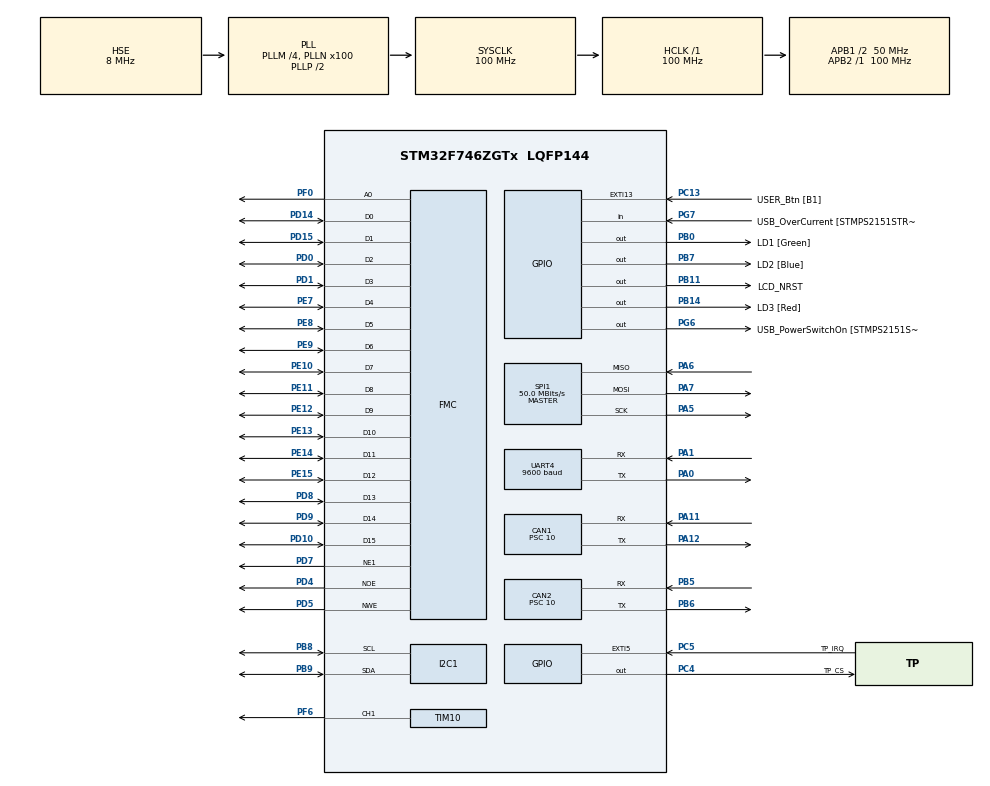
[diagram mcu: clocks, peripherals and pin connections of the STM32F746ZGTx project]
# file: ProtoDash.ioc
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CAN1.BS1=CAN_BS1_8TQ
CAN1.CalculateBaudRate=500000
CAN1.CalculateTimeBit=2000
CAN1.CalculateTimeQuantum=200.0
CAN1.Prescaler=10
CAN2.BS1=CAN_BS1_8TQ
CAN2.CalculateBaudRate=500000
CAN2.CalculateTimeBit=2000
CAN2.CalculateTimeQuantum=200.0
CAN2.Prescaler=10
FMC.AddressSetupTime1=3
FMC.BusTurnAroundDuration1=2
FMC.DataSetupTime1=2
I2C1.Timing=0x00C0EAFF
Mcu.Family=STM32F7
Mcu.Name=STM32F746ZGTx
Mcu.Package=LQFP144
NVIC.PriorityGroup=NVIC_PRIORITYGROUP_4
PA0/WKUP.Mode=Asynchronous
PA0/WKUP.Signal=UART4_TX
PA1.Mode=Asynchronous
PA1.Signal=UART4_RX
PA11.Mode=CAN_Activate
PA11.Signal=CAN1_RX
PA12.Mode=CAN_Activate
PA12.Signal=CAN1_TX
PA13.GPIO_Label=TMS
PA13.Mode=Serial_Wire
PA13.Signal=SYS_JTMS-SWDIO
PA14.GPIO_Label=TCK
PA14.Mode=Serial_Wire
PA14.Signal=SYS_JTCK-SWCLK
PA5.Mode=Full_Duplex_Master
PA5.Signal=SPI1_SCK
PA6.Mode=Full_Duplex_Master
PA6.Signal=SPI1_MISO
PA7.Mode=Full_Duplex_Master
PA7.Signal=SPI1_MOSI
PB0.GPIO_Label=LD1 [Green]
PB0.Signal=GPIO_Output
PB11.GPIO_Label=LCD_NRST
PB11.Signal=GPIO_Output
PB14.GPIO_Label=LD3 [Red]
PB14.Signal=GPIO_Output
PB3.Signal=SYS_JTDO-SWO
PB5.Mode=CAN_Activate
PB5.Signal=CAN2_RX
PB6.Mode=CAN_Activate
PB6.Signal=CAN2_TX
PB7.GPIO_Label=LD2 [Blue]
PB7.Signal=GPIO_Output
PB8.Mode=I2C
PB8.Signal=I2C1_SCL
PB9.Mode=I2C
PB9.Signal=I2C1_SDA
PC13.GPIO_Label=USER_Btn [B1]
PC13.Signal=GPXTI13
PC14/OSC32_IN.Mode=LSE-External-Oscillator
PC14/OSC32_IN.Signal=RCC_OSC32_IN
PC15/OSC32_OUT.Mode=LSE-External-Oscillator
PC15/OSC32_OUT.Signal=RCC_OSC32_OUT
PC4.GPIO_Label=TP_CS
PC4.Signal=GPIO_Output
PC5.GPIO_Label=TP_IRQ
PC5.Signal=GPXTI5
PD0.Signal=FMC_D2_DA2
PD1.Signal=FMC_D3_DA3
PD10.Signal=FMC_D15_DA15
PD14.Signal=FMC_D0_DA0
PD15.Signal=FMC_D1_DA1
PD4.Signal=FMC_NOE
PD5.Signal=FMC_NWE
PD7.Mode=NorPsramChipSelect1_1
PD7.Signal=FMC_NE1
PD8.Signal=FMC_D13_DA13
PD9.Signal=FMC_D14_DA14
PE10.Signal=FMC_D7_DA7
PE11.Signal=FMC_D8_DA8
PE12.Signal=FMC_D9_DA9
PE13.Signal=FMC_D10_DA10
PE14.Signal=FMC_D11_DA11
PE15.Signal=FMC_D12_DA12
PE7.Signal=FMC_D4_DA4
PE8.Signal=FMC_D5_DA5
PE9.Signal=FMC_D6_DA6
PF0.Signal=FMC_A0
PF6.Signal=S_TIM10_CH1
PG6.GPIO_Label=USB_PowerSwitchOn [STMPS2151STR_EN]
PG6.Signal=GPIO_Output
PG7.GPIO_Label=USB_OverCurrent [STMPS2151STR_FAULT]
PG7.Signal=GPIO_Input
PH0/OSC_IN.GPIO_Label=MCO [STM32F103CBT6_PA8]
PH0/OSC_IN.Mode=HSE-External-Clock-Source
PH0/OSC_IN.Signal=RCC_OSC_IN
PH1/OSC_OUT.Mode=HSE-External-Clock-Source
PH1/OSC_OUT.Signal=RCC_OSC_OUT
ProjectManager.HeapSize=0x200
ProjectManager.StackSize=0x400
ProjectManager.TargetToolchain=STM32CubeIDE
RCC.48MHZClocksFreq_Value=24000000
RCC.AHBFreq_Value=100000000
RCC.APB1CLKDivider=RCC_HCLK_DIV2
RCC.APB1Freq_Value=50000000
RCC.APB1TimFreq_Value=100000000
RCC.APB2Freq_Value=100000000
RCC.APB2TimFreq_Value=100000000
RCC.CortexFreq_Value=100000000
RCC.HCLKFreq_Value=100000000
RCC.HSE_VALUE=8000000
RCC.HSI_VALUE=16000000
RCC.PLL48CLockSelection=RCC_CLK48SOURCE_PLLSAIP
RCC.PLLM=4
RCC.PLLMUL=RCC_PLL_MUL9
RCC.PLLN=100
RCC.PLLSAIP=RCC_PLLSAIP_DIV8
RCC.PLLSourceVirtual=RCC_PLLSOURCE_HSE
RCC.PRESCALERUSB=RCC_USBCLKSOURCE_PLL_DIV1_5
RCC.SYSCLKFreq_VALUE=100000000
RCC.SYSCLKSource=RCC_SYSCLKSOURCE_PLLCLK
RCC.SYSCLKSourceVirtual=RCC_SYSCLKSOURCE_PLLCLK
RCC.USBFreq_Value=48000000
RCC.VCOOutputFreq_Value=200000000
SH.FMC_A0.0=FMC_A0,A0_1
SH.FMC_D0_DA0.0=FMC_D0,16b-d1
SH.FMC_D10_DA10.0=FMC_D10,16b-d1
SH.FMC_D11_DA11.0=FMC_D11,16b-d1
SH.FMC_D12_DA12.0=FMC_D12,16b-d1
SH.FMC_D13_DA13.0=FMC_D13,16b-d1
SH.FMC_D14_DA14.0=FMC_D14,16b-d1
SH.FMC_D15_DA15.0=FMC_D15,16b-d1
SH.FMC_D1_DA1.0=FMC_D1,16b-d1
SH.FMC_D2_DA2.0=FMC_D2,16b-d1
SH.FMC_D3_DA3.0=FMC_D3,16b-d1
SH.FMC_D4_DA4.0=FMC_D4,16b-d1
SH.FMC_D5_DA5.0=FMC_D5,16b-d1
SH.FMC_D6_DA6.0=FMC_D6,16b-d1
SH.FMC_D7_DA7.0=FMC_D7,16b-d1
SH.FMC_D8_DA8.0=FMC_D8,16b-d1
SH.FMC_D9_DA9.0=FMC_D9,16b-d1
SH.FMC_NOE.0=FMC_NOE,Lcd1
SH.FMC_NWE.0=FMC_NWE,Lcd1
SH.S_TIM10_CH1.0=TIM10_CH1,PWM Generation1 CH1
SPI1.CalculateBaudRate=50.0 MBits/s
SPI1.Direction=SPI_DIRECTION_2LINES
SPI1.Mode=SPI_MODE_MASTER
SPI1.VirtualType=VM_MASTER
TIM10.Channel=TIM_CHANNEL_1
TIM10.Period=100-1
TIM10.Prescaler=120-1
UART4.BaudRate=9600
UART4.Mode=MODE_TX
VP_TIM10_VS_ClockSourceINT.Mode=Enable_Timer
board=NUCLEO-F746ZG

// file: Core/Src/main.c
/* USER CODE BEGIN Header */
/**
  ******************************************************************************
  * @file           : main.c
  * @brief          : Main program body
  ******************************************************************************
  * @attention
  *
  * Copyright (c) 2025 STMicroelectronics.
  * All rights reserved.
  *
  * This software is licensed under terms that can be found in the LICENSE file
  * in the root directory of this software component.
  * If no LICENSE file comes with this software, it is provided AS-IS.
  *
  ******************************************************************************
  */
/* USER CODE END Header */
#include "main.h"

/* USER CODE BEGIN Includes */
#include "ili9341.h"

#include "lvgl.h"
#include "ui.h"
/* USER CODE END Includes */

/* USER CODE BEGIN PD */
#define HORIZONTAL_RES 320 //px
#define VERTICAL_RES 240 //px

#define BYTES_PER_PIXEL (LV_COLOR_FORMAT_GET_SIZE(LV_COLOR_FORMAT_RGB565))
/* USER CODE END PD */

CAN_HandleTypeDef hcan1;
CAN_HandleTypeDef hcan2;

I2C_HandleTypeDef hi2c1;

SPI_HandleTypeDef hspi1;

TIM_HandleTypeDef htim10;

UART_HandleTypeDef huart4;

SRAM_HandleTypeDef hsram1;

/* USER CODE BEGIN PV */
static uint8_t buf1[HORIZONTAL_RES * VERTICAL_RES / 10 * BYTES_PER_PIXEL];
/* USER CODE END PV */

void SystemClock_Config(void);
static void MX_GPIO_Init(void);
static void MX_I2C1_Init(void);
static void MX_FMC_Init(void);
static void MX_TIM10_Init(void);
static void MX_UART4_Init(void);
static void MX_CAN2_Init(void);
static void MX_SPI1_Init(void);
static void MX_CAN1_Init(void);

/* USER CODE BEGIN 0 */

void display_flush_cb(lv_display_t * display, const lv_area_t * area, uint8_t * px_map)
{
    /* The most simple case (also the slowest) to send all rendered pixels to the
     * screen one-by-one. */
	lcdSetWindow(area->x1, area->y1, area->x2, area->y2);

    uint16_t * buf16 = (uint16_t *)px_map; /* Let's say it's a 16 bit (RGB565) display */
    int32_t x, y;
    for(y = area->y1; y <= area->y2; y++) {
        for(x = area->x1; x <= area->x2; x++) {
            LCD_DataWrite(*buf16);
            buf16++;
        }
    }

    /* IMPORTANT!!!
     * Inform LVGL that flushing is complete so buffer can be modified again. */
    lv_display_flush_ready(display);
}

/* USER CODE END 0 */

int main(void)
{

  /* MCU Configuration--------------------------------------------------------*/

  /* Reset of all peripherals, Initializes the Flash interface and the Systick. */
  HAL_Init();

  /* Configure the system clock */
  SystemClock_Config();

  /* Initialize all configured peripherals */
  MX_GPIO_Init();
  MX_I2C1_Init();
  MX_FMC_Init();
  MX_TIM10_Init();
  MX_UART4_Init();
  MX_CAN2_Init();
  MX_SPI1_Init();
  MX_CAN1_Init();
  /* USER CODE BEGIN 2 */

  HAL_EnableFMCMemorySwapping();

  //Reset LCD
  HAL_GPIO_WritePin(LCD_NRST_GPIO_Port, LCD_NRST_Pin, GPIO_PIN_RESET);
  HAL_Delay(50);
  HAL_GPIO_WritePin(LCD_NRST_GPIO_Port, LCD_NRST_Pin, GPIO_PIN_SET);
  HAL_Delay(50);

  //Initialise backlight PWM
  HAL_TIM_PWM_Start(&htim10, TIM_CHANNEL_1);
  htim10.Instance->CCR1 = 100; // 100% brightness

  lcdInit();
  lcdSetOrientation(LCD_ORIENTATION_LANDSCAPE_MIRROR);
  lcdTest();

  lv_init();
  lv_tick_set_cb(HAL_GetTick);

  lv_display_t * display1 = lv_display_create(HORIZONTAL_RES, VERTICAL_RES);

  lv_display_set_buffers(display1, buf1, NULL, sizeof(buf1), LV_DISPLAY_RENDER_MODE_PARTIAL);

  lv_display_set_flush_cb(display1, display_flush_cb);

  ui_init();
  /* USER CODE END 2 */

  /* Infinite loop */
  while (1)
  {

    /* USER CODE BEGIN 3 */
	  lv_timer_handler_run_in_period(5);

  }
  /* USER CODE END 3 */
}

void SystemClock_Config(void)
{
  RCC_OscInitTypeDef RCC_OscInitStruct = {0};
  RCC_ClkInitTypeDef RCC_ClkInitStruct = {0};

  /** Configure LSE Drive Capability
  */
  HAL_PWR_EnableBkUpAccess();

  /** Configure the main internal regulator output voltage
  */
  __HAL_RCC_PWR_CLK_ENABLE();
  __HAL_PWR_VOLTAGESCALING_CONFIG(PWR_REGULATOR_VOLTAGE_SCALE3);

  /** Initializes the RCC Oscillators according to the specified parameters
  * in the RCC_OscInitTypeDef structure.
  */
  RCC_OscInitStruct.OscillatorType = RCC_OSCILLATORTYPE_HSE;
  RCC_OscInitStruct.HSEState = RCC_HSE_BYPASS;
  RCC_OscInitStruct.PLL.PLLState = RCC_PLL_ON;
  RCC_OscInitStruct.PLL.PLLSource = RCC_PLLSOURCE_HSE;
  RCC_OscInitStruct.PLL.PLLM = 4;
  RCC_OscInitStruct.PLL.PLLN = 100;
  RCC_OscInitStruct.PLL.PLLP = RCC_PLLP_DIV2;
  RCC_OscInitStruct.PLL.PLLQ = 2;
  if (HAL_RCC_OscConfig(&RCC_OscInitStruct) != HAL_OK)
  {
    Error_Handler();
  }

  /** Activate the Over-Drive mode
  */
  if (HAL_PWREx_EnableOverDrive() != HAL_OK)
  {
    Error_Handler();
  }

  /** Initializes the CPU, AHB and APB buses clocks
  */
  RCC_ClkInitStruct.ClockType = RCC_CLOCKTYPE_HCLK|RCC_CLOCKTYPE_SYSCLK
                              |RCC_CLOCKTYPE_PCLK1|RCC_CLOCKTYPE_PCLK2;
  RCC_ClkInitStruct.SYSCLKSource = RCC_SYSCLKSOURCE_PLLCLK;
  RCC_ClkInitStruct.AHBCLKDivider = RCC_SYSCLK_DIV1;
  RCC_ClkInitStruct.APB1CLKDivider = RCC_HCLK_DIV2;
  RCC_ClkInitStruct.APB2CLKDivider = RCC_HCLK_DIV1;

  if (HAL_RCC_ClockConfig(&RCC_ClkInitStruct, FLASH_LATENCY_3) != HAL_OK)
  {
    Error_Handler();
  }
}

static void MX_CAN1_Init(void)
{

  hcan1.Instance = CAN1;
  hcan1.Init.Prescaler = 10;
  hcan1.Init.Mode = CAN_MODE_NORMAL;
  hcan1.Init.SyncJumpWidth = CAN_SJW_1TQ;
  hcan1.Init.TimeSeg1 = CAN_BS1_8TQ;
  hcan1.Init.TimeSeg2 = CAN_BS2_1TQ;
  hcan1.Init.TimeTriggeredMode = DISABLE;
  hcan1.Init.AutoBusOff = DISABLE;
  hcan1.Init.AutoWakeUp = DISABLE;
  hcan1.Init.AutoRetransmission = DISABLE;
  hcan1.Init.ReceiveFifoLocked = DISABLE;
  hcan1.Init.TransmitFifoPriority = DISABLE;
  if (HAL_CAN_Init(&hcan1) != HAL_OK)
  {
    Error_Handler();
  }

}

static void MX_CAN2_Init(void)
{

  hcan2.Instance = CAN2;
  hcan2.Init.Prescaler = 10;
  hcan2.Init.Mode = CAN_MODE_NORMAL;
  hcan2.Init.SyncJumpWidth = CAN_SJW_1TQ;
  hcan2.Init.TimeSeg1 = CAN_BS1_8TQ;
  hcan2.Init.TimeSeg2 = CAN_BS2_1TQ;
  hcan2.Init.TimeTriggeredMode = DISABLE;
  hcan2.Init.AutoBusOff = DISABLE;
  hcan2.Init.AutoWakeUp = DISABLE;
  hcan2.Init.AutoRetransmission = DISABLE;
  hcan2.Init.ReceiveFifoLocked = DISABLE;
  hcan2.Init.TransmitFifoPriority = DISABLE;
  if (HAL_CAN_Init(&hcan2) != HAL_OK)
  {
    Error_Handler();
  }

}

static void MX_I2C1_Init(void)
{

  hi2c1.Instance = I2C1;
  hi2c1.Init.Timing = 0x00C0EAFF;
  hi2c1.Init.OwnAddress1 = 0;
  hi2c1.Init.AddressingMode = I2C_ADDRESSINGMODE_7BIT;
  hi2c1.Init.DualAddressMode = I2C_DUALADDRESS_DISABLE;
  hi2c1.Init.OwnAddress2 = 0;
  hi2c1.Init.OwnAddress2Masks = I2C_OA2_NOMASK;
  hi2c1.Init.GeneralCallMode = I2C_GENERALCALL_DISABLE;
  hi2c1.Init.NoStretchMode = I2C_NOSTRETCH_DISABLE;
  if (HAL_I2C_Init(&hi2c1) != HAL_OK)
  {
    Error_Handler();
  }

  /** Configure Analogue filter
  */
  if (HAL_I2CEx_ConfigAnalogFilter(&hi2c1, I2C_ANALOGFILTER_ENABLE) != HAL_OK)
  {
    Error_Handler();
  }

  /** Configure Digital filter
  */
  if (HAL_I2CEx_ConfigDigitalFilter(&hi2c1, 0) != HAL_OK)
  {
    Error_Handler();
  }

}

static void MX_SPI1_Init(void)
{

  /* SPI1 parameter configuration*/
  hspi1.Instance = SPI1;
  hspi1.Init.Mode = SPI_MODE_MASTER;
  hspi1.Init.Direction = SPI_DIRECTION_2LINES;
  hspi1.Init.DataSize = SPI_DATASIZE_4BIT;
  hspi1.Init.CLKPolarity = SPI_POLARITY_LOW;
  hspi1.Init.CLKPhase = SPI_PHASE_1EDGE;
  hspi1.Init.NSS = SPI_NSS_SOFT;
  hspi1.Init.BaudRatePrescaler = SPI_BAUDRATEPRESCALER_2;
  hspi1.Init.FirstBit = SPI_FIRSTBIT_MSB;
  hspi1.Init.TIMode = SPI_TIMODE_DISABLE;
  hspi1.Init.CRCCalculation = SPI_CRCCALCULATION_DISABLE;
  hspi1.Init.CRCPolynomial = 7;
  hspi1.Init.CRCLength = SPI_CRC_LENGTH_DATASIZE;
  hspi1.Init.NSSPMode = SPI_NSS_PULSE_ENABLE;
  if (HAL_SPI_Init(&hspi1) != HAL_OK)
  {
    Error_Handler();
  }

}

static void MX_TIM10_Init(void)
{

  TIM_OC_InitTypeDef sConfigOC = {0};

  htim10.Instance = TIM10;
  htim10.Init.Prescaler = 120-1;
  htim10.Init.CounterMode = TIM_COUNTERMODE_UP;
  htim10.Init.Period = 100-1;
  htim10.Init.ClockDivision = TIM_CLOCKDIVISION_DIV1;
  htim10.Init.AutoReloadPreload = TIM_AUTORELOAD_PRELOAD_DISABLE;
  if (HAL_TIM_Base_Init(&htim10) != HAL_OK)
  {
    Error_Handler();
  }
  if (HAL_TIM_PWM_Init(&htim10) != HAL_OK)
  {
    Error_Handler();
  }
  sConfigOC.OCMode = TIM_OCMODE_PWM1;
  sConfigOC.Pulse = 0;
  sConfigOC.OCPolarity = TIM_OCPOLARITY_HIGH;
  sConfigOC.OCFastMode = TIM_OCFAST_DISABLE;
  if (HAL_TIM_PWM_ConfigChannel(&htim10, &sConfigOC, TIM_CHANNEL_1) != HAL_OK)
  {
    Error_Handler();
  }
  HAL_TIM_MspPostInit(&htim10);

}

static void MX_UART4_Init(void)
{

  huart4.Instance = UART4;
  huart4.Init.BaudRate = 9600;
  huart4.Init.WordLength = UART_WORDLENGTH_8B;
  huart4.Init.StopBits = UART_STOPBITS_1;
  huart4.Init.Parity = UART_PARITY_NONE;
  huart4.Init.Mode = UART_MODE_TX;
  huart4.Init.HwFlowCtl = UART_HWCONTROL_NONE;
  huart4.Init.OverSampling = UART_OVERSAMPLING_16;
  huart4.Init.OneBitSampling = UART_ONE_BIT_SAMPLE_DISABLE;
  huart4.AdvancedInit.AdvFeatureInit = UART_ADVFEATURE_NO_INIT;
  if (HAL_UART_Init(&huart4) != HAL_OK)
  {
    Error_Handler();
  }

}

/* FMC initialization function */
static void MX_FMC_Init(void)
{

  FMC_NORSRAM_TimingTypeDef Timing = {0};

  /** Perform the SRAM1 memory initialization sequence
  */
  hsram1.Instance = FMC_NORSRAM_DEVICE;
  hsram1.Extended = FMC_NORSRAM_EXTENDED_DEVICE;
  /* hsram1.Init */
  hsram1.Init.NSBank = FMC_NORSRAM_BANK1;
  hsram1.Init.DataAddressMux = FMC_DATA_ADDRESS_MUX_DISABLE;
  hsram1.Init.MemoryType = FMC_MEMORY_TYPE_SRAM;
  hsram1.Init.MemoryDataWidth = FMC_NORSRAM_MEM_BUS_WIDTH_16;
  hsram1.Init.BurstAccessMode = FMC_BURST_ACCESS_MODE_DISABLE;
  hsram1.Init.WaitSignalPolarity = FMC_WAIT_SIGNAL_POLARITY_LOW;
  hsram1.Init.WaitSignalActive = FMC_WAIT_TIMING_BEFORE_WS;
  hsram1.Init.WriteOperation = FMC_WRITE_OPERATION_ENABLE;
  hsram1.Init.WaitSignal = FMC_WAIT_SIGNAL_DISABLE;
  hsram1.Init.ExtendedMode = FMC_EXTENDED_MODE_DISABLE;
  hsram1.Init.AsynchronousWait = FMC_ASYNCHRONOUS_WAIT_DISABLE;
  hsram1.Init.WriteBurst = FMC_WRITE_BURST_DISABLE;
  hsram1.Init.ContinuousClock = FMC_CONTINUOUS_CLOCK_SYNC_ONLY;
  hsram1.Init.WriteFifo = FMC_WRITE_FIFO_ENABLE;
  hsram1.Init.PageSize = FMC_PAGE_SIZE_NONE;
  /* Timing */
  Timing.AddressSetupTime = 3;
  Timing.AddressHoldTime = 15;
  Timing.DataSetupTime = 2;
  Timing.BusTurnAroundDuration = 2;
  Timing.CLKDivision = 16;
  Timing.DataLatency = 17;
  Timing.AccessMode = FMC_ACCESS_MODE_A;
  /* ExtTiming */

  if (HAL_SRAM_Init(&hsram1, &Timing, NULL) != HAL_OK)
  {
    Error_Handler( );
  }

}

static void MX_GPIO_Init(void)
{
  GPIO_InitTypeDef GPIO_InitStruct = {0};

  /* GPIO Ports Clock Enable */
  __HAL_RCC_GPIOC_CLK_ENABLE();
  __HAL_RCC_GPIOF_CLK_ENABLE();
  __HAL_RCC_GPIOH_CLK_ENABLE();
  __HAL_RCC_GPIOA_CLK_ENABLE();
  __HAL_RCC_GPIOB_CLK_ENABLE();
  __HAL_RCC_GPIOE_CLK_ENABLE();
  __HAL_RCC_GPIOD_CLK_ENABLE();
  __HAL_RCC_GPIOG_CLK_ENABLE();

  /*Configure GPIO pin Output Level */
  HAL_GPIO_WritePin(TP_CS_GPIO_Port, TP_CS_Pin, GPIO_PIN_RESET);

  /*Configure GPIO pin Output Level */
  HAL_GPIO_WritePin(GPIOB, LD1_Pin|LCD_NRST_Pin|LD3_Pin|LD2_Pin, GPIO_PIN_RESET);

  /*Configure GPIO pin Output Level */
  HAL_GPIO_WritePin(USB_PowerSwitchOn_GPIO_Port, USB_PowerSwitchOn_Pin, GPIO_PIN_RESET);

  /*Configure GPIO pins : USER_Btn_Pin TP_IRQ_Pin */
  GPIO_InitStruct.Pin = USER_Btn_Pin|TP_IRQ_Pin;
  GPIO_InitStruct.Mode = GPIO_MODE_IT_RISING;
  GPIO_InitStruct.Pull = GPIO_NOPULL;
  HAL_GPIO_Init(GPIOC, &GPIO_InitStruct);

  /*Configure GPIO pin : TP_CS_Pin */
  GPIO_InitStruct.Pin = TP_CS_Pin;
  GPIO_InitStruct.Mode = GPIO_MODE_OUTPUT_PP;
  GPIO_InitStruct.Pull = GPIO_NOPULL;
  GPIO_InitStruct.Speed = GPIO_SPEED_FREQ_LOW;
  HAL_GPIO_Init(TP_CS_GPIO_Port, &GPIO_InitStruct);

  /*Configure GPIO pins : LD1_Pin LCD_NRST_Pin LD3_Pin LD2_Pin */
  GPIO_InitStruct.Pin = LD1_Pin|LCD_NRST_Pin|LD3_Pin|LD2_Pin;
  GPIO_InitStruct.Mode = GPIO_MODE_OUTPUT_PP;
  GPIO_InitStruct.Pull = GPIO_NOPULL;
  GPIO_InitStruct.Speed = GPIO_SPEED_FREQ_LOW;
  HAL_GPIO_Init(GPIOB, &GPIO_InitStruct);

  /*Configure GPIO pin : USB_PowerSwitchOn_Pin */
  GPIO_InitStruct.Pin = USB_PowerSwitchOn_Pin;
  GPIO_InitStruct.Mode = GPIO_MODE_OUTPUT_PP;
  GPIO_InitStruct.Pull = GPIO_NOPULL;
  GPIO_InitStruct.Speed = GPIO_SPEED_FREQ_LOW;
  HAL_GPIO_Init(USB_PowerSwitchOn_GPIO_Port, &GPIO_InitStruct);

  /*Configure GPIO pin : USB_OverCurrent_Pin */
  GPIO_InitStruct.Pin = USB_OverCurrent_Pin;
  GPIO_InitStruct.Mode = GPIO_MODE_INPUT;
  GPIO_InitStruct.Pull = GPIO_NOPULL;
  HAL_GPIO_Init(USB_OverCurrent_GPIO_Port, &GPIO_InitStruct);

}

void Error_Handler(void)
{
  __disable_irq();
  while (1)
  {
  }
}
